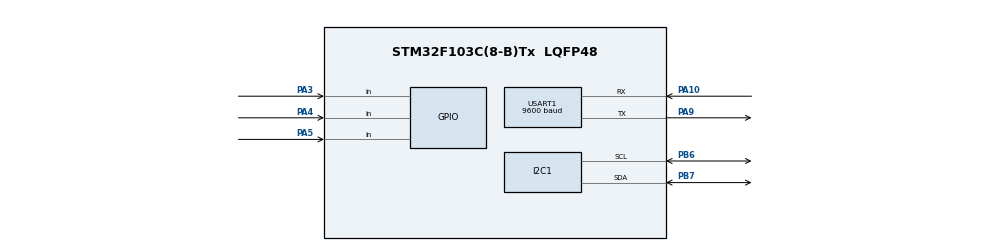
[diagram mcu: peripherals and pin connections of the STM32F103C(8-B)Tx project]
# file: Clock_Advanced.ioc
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Mcu.Family=STM32F1
Mcu.Name=STM32F103C(8-B)Tx
Mcu.Package=LQFP48
NVIC.PriorityGroup=NVIC_PRIORITYGROUP_3
NVIC.TIM2_IRQn=true\:0\:0\:false\:false\:true\:true\:true\:true
PA10.Mode=Asynchronous
PA10.Signal=USART1_RX
PA13.Mode=Serial_Wire
PA13.Signal=SYS_JTMS-SWDIO
PA14.Mode=Serial_Wire
PA14.Signal=SYS_JTCK-SWCLK
PA3.GPIO_PuPd=GPIO_PULLUP
PA3.Signal=GPIO_Input
PA4.GPIO_PuPd=GPIO_PULLUP
PA4.Signal=GPIO_Input
PA5.GPIO_PuPd=GPIO_PULLUP
PA5.Signal=GPIO_Input
PA9.Mode=Asynchronous
PA9.Signal=USART1_TX
PB6.Mode=I2C
PB6.Signal=I2C1_SCL
PB7.Mode=I2C
PB7.Signal=I2C1_SDA
PD0-OSC_IN.Mode=HSE-External-Oscillator
PD0-OSC_IN.Signal=RCC_OSC_IN
PD1-OSC_OUT.Mode=HSE-External-Oscillator
PD1-OSC_OUT.Signal=RCC_OSC_OUT
ProjectManager.HeapSize=0x200
ProjectManager.StackSize=0x400
ProjectManager.TargetToolchain=MDK-ARM V4
RCC.APB1Freq_Value=8000000
RCC.APB2Freq_Value=8000000
TIM1.Prescaler=7999
TIM2.AutoReloadPreload=TIM_AUTORELOAD_PRELOAD_ENABLE
TIM2.Period=999
TIM2.Prescaler=7999
USART1.BaudRate=9600
USART1.VirtualMode=VM_ASYNC
VP_TIM1_VS_ClockSourceINT.Mode=Internal
VP_TIM2_VS_ClockSourceINT.Mode=Internal
board=custom

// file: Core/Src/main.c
/* USER CODE BEGIN Header */
/**
  ******************************************************************************
  * @file           : main.c
  * @brief          : Main program body
  ******************************************************************************
  * @attention
  *
  * Copyright (c) 2024 STMicroelectronics.
  * All rights reserved.
  *
  * This software is licensed under terms that can be found in the LICENSE file
  * in the root directory of this software component.
  * If no LICENSE file comes with this software, it is provided AS-IS.
  *
  ******************************************************************************
  */
/* USER CODE END Header */
#include "main.h"

/* USER CODE BEGIN Includes */
#include "RTC.h"
#include "LiquidCrystal_I2C.h"
#include "Button.h"
#include "DFPLAYER.h"
/* USER CODE END Includes */

I2C_HandleTypeDef hi2c1;

TIM_HandleTypeDef htim1;
TIM_HandleTypeDef htim2;

UART_HandleTypeDef huart1;

void SystemClock_Config(void);
static void MX_GPIO_Init(void);
static void MX_TIM2_Init(void);
static void MX_I2C1_Init(void);
static void MX_USART1_UART_Init(void);
static void MX_TIM1_Init(void);
/* USER CODE BEGIN PFP */
RTC_Typedef hrtc1;
LiquidCrystal_I2C hlcd;
Button_Typdef start_stop_button;
Button_Typdef mode_button;
Button_Typdef light_button;
DFPLAYER_Name mp3;
/* USER CODE END PFP */

/* USER CODE BEGIN 0 */

//--------define cac macro su dung o TRANG THAI IDLE----------------
typedef enum
{
	idle_state,
	choose_mode_state,
	adjust_time_state,
	set_alarm_state,
	sport_timer_state,
	choose_ringtone_state,
	adjust_volume_state,
}mode_state;
mode_state clock_state= idle_state;

typedef enum
{
	backlight_on,
	backlight_off,
}back_light_state;
back_light_state backlight_state=backlight_off;

//--------define cac macro su dung o TRANG THAI SET TIME------------
typedef enum
{
	choose_normal_display_mode,
	choose_adjust_time_mode,
	choose_set_alarm_mode,
	choose_sport_timer_mode,
	choose_choose_ringtone_mode,
	choose_adjust_volume_mode,
}choose_mode_t;
choose_mode_t choose_mode=choose_normal_display_mode;

//--------define cac macro su dung o TRANG THAI CHOOSE MODE------------
typedef enum
{
	date_adjusting,
	month_adjusting,
	year_adjusting,
	hour_adjusting,
	min_adjusting,
	second_adjusting,
}adjusting_list;
adjusting_list adjusting_state;

//--------define cac macro su dung o TRANG THAI SET ALARM-----------
typedef enum
{
	hour_setAlarm,
	min_setAlarm,
	second_setAlarm,
}alarm;
alarm alarm_state;

typedef enum
{
	alarm_on,
	alarm_off,
}alarm_on_off;
alarm_on_off alarm_on_or_off;

typedef struct
{
	uint8_t hour;
	uint8_t min;
	uint8_t second;
}alarm_time;
alarm_time alarmTime;
uint8_t alarming_flag;
//--------define cac macro su dung o TRANG THAI SPORT TIMER---------
typedef enum
{
	timer_pause,
	timer_run,
}timerState;
timerState timer_state;

typedef struct
{
	uint8_t min;
	uint8_t second;
	uint8_t tick;
}timerTime;
timerTime timer_time;
//--------define cac macro su dung o TRANG THAI CHOOSE RINGTONE---------
typedef enum
{
	song1=1,
	song2=2,
	song3=3,
}song_list_t;
song_list_t song_list;
int volume=15;
//-------------------------------------------------------------------------

void btn_press_short_callback(Button_Typdef *ButtonX ) // ngat duoc goi moi khi co 1 nut duoc nhan nha nhanh
{
	if (ButtonX == &mode_button) // neu nut duoc nhan la nut mode
	{
		HAL_Delay(10);
		lcd_clear_display(&hlcd);
		if (clock_state == idle_state)
		{
			clock_state=choose_mode_state;
			choose_mode= choose_normal_display_mode;
		}
		else if (clock_state == choose_mode_state)
		{
			switch(choose_mode)
			{
				case choose_normal_display_mode:
					clock_state= idle_state;
					break;
				case choose_adjust_time_mode:
					clock_state= adjust_time_state;
					adjusting_state= date_adjusting;
					break;
				case choose_set_alarm_mode:
					clock_state= set_alarm_state;
					alarm_state= second_setAlarm;
					alarmTime.hour=0;
					alarmTime.min=0;
					alarmTime.second=0;
					break;
				case choose_sport_timer_mode:
					clock_state= sport_timer_state;
					timer_state=timer_pause;
					break;
				case choose_choose_ringtone_mode:
					clock_state= choose_ringtone_state;
					song_list=song1;
					break;
				case choose_adjust_volume_mode:
					clock_state= adjust_volume_state;
					break;
				default:
					break;
			}
		}

		else if (clock_state == set_alarm_state)
		{
			alarm_on_or_off=alarm_on;
			clock_state=idle_state;
		}
		else if (clock_state == adjust_volume_state)
		{
			DFPLAYER_Stop(&mp3);
			clock_state=idle_state;
		}
		else
		{
			clock_state=idle_state;
		}
	}
	if (ButtonX == &start_stop_button) // neu nut duoc nhan la nut start_stop
	{
		HAL_Delay(10);
		lcd_clear_display(&hlcd);
		if (clock_state== choose_mode_state)
		{
			switch(choose_mode)
			{
				case choose_normal_display_mode:
					choose_mode= choose_adjust_time_mode;
					break;
				case choose_adjust_time_mode:
					choose_mode= choose_set_alarm_mode;
					break;
				case choose_set_alarm_mode:
					choose_mode= choose_sport_timer_mode;
					break;
				case choose_sport_timer_mode:
					choose_mode= choose_choose_ringtone_mode;
					break;
				case choose_choose_ringtone_mode:
					choose_mode= choose_adjust_volume_mode;
					break;
				case choose_adjust_volume_mode:
					choose_mode= choose_normal_display_mode;
					break;
				default:
					break;
			}
		}
		if(clock_state == adjust_time_state)
		{
			switch(adjusting_state)
			{
				case date_adjusting:
					RTC_ReadTime(&hrtc1,&hrtc1.date_time);
					if (hrtc1.date_time.date==31) { hrtc1.date_time.date = 1;}
					else {hrtc1.date_time.date=(hrtc1.date_time.date)%31+1;}
					RTC_WriteTime(&hrtc1,&hrtc1.date_time);
					break;

				case month_adjusting:
					RTC_ReadTime(&hrtc1,&hrtc1.date_time);
					if (hrtc1.date_time.month==12) { hrtc1.date_time.month = 1;}
					else {hrtc1.date_time.month=(hrtc1.date_time.month)%12+1;}
					RTC_WriteTime(&hrtc1,&hrtc1.date_time);
					break;

				case year_adjusting:
					RTC_ReadTime(&hrtc1,&hrtc1.date_time);
					if (hrtc1.date_time.year==99) { hrtc1.date_time.year = 0;}
					else {hrtc1.date_time.year=(hrtc1.date_time.year++)%100;}
					RTC_WriteTime(&hrtc1,&hrtc1.date_time);
					break;

				case hour_adjusting:
					RTC_ReadTime(&hrtc1,&hrtc1.date_time);
					if (hrtc1.date_time.hour==23) { hrtc1.date_time.hour = 0;}
					else {hrtc1.date_time.hour=(hrtc1.date_time.hour++)%24;}
					RTC_WriteTime(&hrtc1,&hrtc1.date_time);
					break;

				case min_adjusting:
					RTC_ReadTime(&hrtc1,&hrtc1.date_time);
					if (hrtc1.date_time.min==59) { hrtc1.date_time.min = 0;}
					else {hrtc1.date_time.min=(hrtc1.date_time.min++)%60;}
					RTC_WriteTime(&hrtc1,&hrtc1.date_time);
					break;

				case second_adjusting:
					RTC_ReadTime(&hrtc1,&hrtc1.date_time);
					if (hrtc1.date_time.second==59) { hrtc1.date_time.second = 0;}
					else {hrtc1.date_time.second=(hrtc1.date_time.second++)%60;}
					RTC_WriteTime(&hrtc1,&hrtc1.date_time);
					break;

				default:
					break;
			}
		}
		if(clock_state==set_alarm_state)
		{
			switch(alarm_state)
			{
				case second_setAlarm:
					alarmTime.second= ((alarmTime.second)+1)%60;
					break;
				case min_setAlarm:
					alarmTime.min= ((alarmTime.min)+1)%60;
					break;
				case hour_setAlarm:
					alarmTime.hour= ((alarmTime.hour)+1)%24;
				break;

				default:
					break;
			}
		}
		if (clock_state== sport_timer_state)
		{
			switch(timer_state)
			{
				case timer_pause:
					timer_state= timer_run;
					break;
				case timer_run:
					timer_state= timer_pause;
					break;
				default:
					break;
			}
		}
		if (clock_state == choose_ringtone_state)
		{
			switch(song_list)
			{
				case song1:
					song_list=song3;
					break;
				case song3:
					song_list=song2;
					break;
				case song2:
					song_list=song1;
					break;
				default:
					break;
			}
		}
		if (clock_state == adjust_volume_state)
		{
			if (volume<30)
			{
				volume+=3;
			}
			DFPLAYER_SetVolume(&mp3,volume);
			DFPLAYER_PlayTrack(&mp3, 2);
		}
	}
	if (ButtonX== &light_button) // neu nut duoc nhan la nut light
	{
		HAL_Delay(10);
		lcd_clear_display(&hlcd);
		if (alarming_flag==1)
		{
			DFPLAYER_Stop(&mp3);
			alarm_on_or_off= alarm_off;
			alarming_flag=0;
		}
		if (clock_state == idle_state)
		{
			switch (backlight_state)
			{
				case backlight_off:
					lcd_backlight_on(&hlcd);
					backlight_state= backlight_on;
					break;
				case backlight_on:
					lcd_backlight_off(&hlcd);
					backlight_state= backlight_off;
					break;
				default:
					break;
			}
		}

		if (clock_state== choose_mode_state)
		{
			switch(choose_mode)
			{
				case choose_normal_display_mode:
					choose_mode= choose_adjust_volume_mode;
					break;
				case choose_adjust_time_mode:
					choose_mode= choose_normal_display_mode;
					break;
				case choose_set_alarm_mode:
					choose_mode= choose_adjust_time_mode;
					break;
				case choose_sport_timer_mode:
					choose_mode= choose_set_alarm_mode;
					break;
				case choose_choose_ringtone_mode:
					choose_mode= choose_sport_timer_mode;
					break;
				case choose_adjust_volume_mode:
					choose_mode= choose_choose_ringtone_mode;
					break;
				default:
					break;
			}
		}

		if (clock_state == adjust_time_state)
		{
			switch(adjusting_state)
			{
				case date_adjusting:
					adjusting_state = month_adjusting;
				break;

				case month_adjusting:
					adjusting_state= year_adjusting;
				break;

				case year_adjusting:
					adjusting_state= hour_adjusting;
				break;

				case hour_adjusting:
					adjusting_state= min_adjusting;
				break;

				case min_adjusting:
					adjusting_state= second_adjusting;
				break;

				case second_adjusting:
					adjusting_state= date_adjusting;

				default:
					break;

			}
		}
		if (clock_state== set_alarm_state)
		{
			switch(alarm_state)
			{
				case second_setAlarm:
					alarm_state= min_setAlarm;
					break;
				case min_setAlarm:
					alarm_state= hour_setAlarm;
					break;
				case hour_setAlarm:
					alarm_state= second_setAlarm;
					break;
				default:
					break;
			}
		}
		if (clock_state== sport_timer_state)
		{
			timer_time.min=0;
			timer_time.second=0;
			timer_time.tick=0;
		}
		if (clock_state == choose_ringtone_state)
		{
			switch(song_list)
			{
				case song1:
					song_list=song2;
					break;
				case song2:
					song_list=song3;
					break;
				case song3:
					song_list=song1;
					break;
				default:
					break;
			}
		}
		if (clock_state == adjust_volume_state)
		{
			if(volume>0)
			{
				volume-=3;
			}
			DFPLAYER_SetVolume(&mp3,volume);
			DFPLAYER_PlayTrack(&mp3, 2);
		}
	}
}

void btn_press_timeout1s_callback(Button_Typdef *ButtonX) // ngat duoc goi moi khi co 1 nut duoc nhan giu trong 1s
{

}
void btn_press_timeout2s_callback(Button_Typdef *ButtonX) // ngat duoc goi moi khi co 1 nut duoc nhan giu trong 2s
{

}
void btn_press_timeout3s_callback(Button_Typdef *ButtonX) // ngat duoc goi moi khi co 1 nut duoc nhan giu trong 3s
{

}

void btn_press_timeout4s_callback(Button_Typdef *ButtonX) // ngat duoc goi moi khi co 1 nut duoc nhan giu trong 4s
{

}
void display_handle() // ham hien thi len LCD
{
	if (clock_state== idle_state)
	{
					RTC_ReadTime(&hrtc1,&hrtc1.date_time);
					lcd_set_cursor(&hlcd, 1,4);
					lcd_printf(&hlcd, "%02d:%02d:%02d",hrtc1.date_time.hour,
									hrtc1.date_time.min, hrtc1.date_time.second);
					lcd_set_cursor(&hlcd, 0,4);
					lcd_printf(&hlcd, "%02d-%02d-%02d",hrtc1.date_time.date,
									hrtc1.date_time.month,hrtc1.date_time.year);
	}

	if (clock_state== choose_mode_state)
	{
		switch(choose_mode)
			{
				case choose_normal_display_mode:
					lcd_set_cursor(&hlcd,0,2);
					lcd_printf(&hlcd,"-Enter Mode-");
					lcd_set_cursor(&hlcd,1,2);
					lcd_printf(&hlcd,"Time Display");
					break;
				case choose_adjust_time_mode:
					lcd_set_cursor(&hlcd,0,2);
					lcd_printf(&hlcd,"-Enter Mode-");
					lcd_set_cursor(&hlcd,1,2);
					lcd_printf(&hlcd,"Time Adjust");
					break;
				case choose_set_alarm_mode:
					lcd_set_cursor(&hlcd,0,2);
					lcd_printf(&hlcd,"-Enter Mode-");
					lcd_set_cursor(&hlcd,1,3);
					lcd_printf(&hlcd,"Set Alarm");
					break;
				case choose_sport_timer_mode:
					lcd_set_cursor(&hlcd,0,2);
					lcd_printf(&hlcd,"-Enter Mode-");
					lcd_set_cursor(&hlcd,1,3);
					lcd_printf(&hlcd,"Sport Timer");
					break;
				case choose_choose_ringtone_mode:
					lcd_set_cursor(&hlcd,0,2);
					lcd_printf(&hlcd,"-Enter Mode-");
					lcd_set_cursor(&hlcd,1,1);
					lcd_printf(&hlcd,"Choose Ringtone");
					break;
				case choose_adjust_volume_mode:
					lcd_set_cursor(&hlcd,0,2);
					lcd_printf(&hlcd,"-Enter Mode-");
					lcd_set_cursor(&hlcd,1,2);
					lcd_printf(&hlcd,"Volume Adjust");
					break;
				default:
					break;
			}

	}

	if (clock_state== adjust_time_state)
	{
		switch(adjusting_state)
		{
			case date_adjusting:
					RTC_ReadTime(&hrtc1,&hrtc1.date_time);
					lcd_set_cursor(&hlcd, 1,4);
					lcd_printf(&hlcd, "%02d:%02d:%02d",hrtc1.date_time.hour,
											hrtc1.date_time.min, hrtc1.date_time.second);
					lcd_set_cursor(&hlcd, 0,4);
					lcd_printf(&hlcd, "%02d-%02d-%02d",hrtc1.date_time.date,
									hrtc1.date_time.month,hrtc1.date_time.year);
					for( uint16_t i=0;i<10000;i++) {}
						RTC_ReadTime(&hrtc1,&hrtc1.date_time);
					lcd_set_cursor(&hlcd, 1,4);
					lcd_printf(&hlcd, "%02d:%02d:%02d",hrtc1.date_time.hour,
											hrtc1.date_time.min, hrtc1.date_time.second);
					lcd_set_cursor(&hlcd, 0,4);
					lcd_printf(&hlcd, "%s-%02d-%02d","  ",
									hrtc1.date_time.month,hrtc1.date_time.year);
					for( uint16_t i=0;i<10000;i++) {}
				break;

			case month_adjusting:
					RTC_ReadTime(&hrtc1,&hrtc1.date_time);
					lcd_set_cursor(&hlcd, 1,4);
					lcd_printf(&hlcd, "%02d:%02d:%02d",hrtc1.date_time.hour,
									hrtc1.date_time.min, hrtc1.date_time.second);
					lcd_set_cursor(&hlcd, 0,4);
					lcd_printf(&hlcd, "%02d-%02d-%02d",hrtc1.date_time.date,
							hrtc1.date_time.month,hrtc1.date_time.year);
					for( uint16_t i=0;i<10000;i++) {}
					RTC_ReadTime(&hrtc1,&hrtc1.date_time);
					lcd_set_cursor(&hlcd, 1,4);
					lcd_printf(&hlcd, "%02d:%02d:%02d",hrtc1.date_time.hour,
									hrtc1.date_time.min, hrtc1.date_time.second);
					lcd_set_cursor(&hlcd, 0,4);
					lcd_printf(&hlcd, "%02d-%s-%02d",hrtc1.date_time.date,
							"  ",hrtc1.date_time.year);
					for( uint16_t i=0;i<10000;i++) {}
				break;

			case year_adjusting:
					RTC_ReadTime(&hrtc1,&hrtc1.date_time);
					lcd_set_cursor(&hlcd, 1,4);
					lcd_printf(&hlcd, "%02d:%02d:%02d",hrtc1.date_time.hour,
									hrtc1.date_time.min, hrtc1.date_time.second);
					lcd_set_cursor(&hlcd, 0,4);
					lcd_printf(&hlcd, "%02d-%02d-%02d",hrtc1.date_time.date,
							hrtc1.date_time.month,hrtc1.date_time.year);
					for( uint16_t i=0;i<10000;i++) {}
					RTC_ReadTime(&hrtc1,&hrtc1.date_time);
					lcd_set_cursor(&hlcd, 1,4);
					lcd_printf(&hlcd, "%02d:%02d:%02d",hrtc1.date_time.hour,
									hrtc1.date_time.min, hrtc1.date_time.second);
					lcd_set_cursor(&hlcd, 0,4);
					lcd_printf(&hlcd, "%02d-%02d-%s",hrtc1.date_time.date,
							hrtc1.date_time.month,"  ");
					for( uint16_t i=0;i<10000;i++) {}
				break;

			case hour_adjusting:
					RTC_ReadTime(&hrtc1,&hrtc1.date_time);
					lcd_set_cursor(&hlcd, 1,4);
					lcd_printf(&hlcd, "%02d:%02d:%02d",hrtc1.date_time.hour,
									hrtc1.date_time.min, hrtc1.date_time.second);
					lcd_set_cursor(&hlcd, 0,4);
					lcd_printf(&hlcd, "%02d-%02d-%02d",hrtc1.date_time.date,
							hrtc1.date_time.month,hrtc1.date_time.year);
					for( uint16_t i=0;i<10000;i++) {}
					RTC_ReadTime(&hrtc1,&hrtc1.date_time);
					lcd_set_cursor(&hlcd, 1,4);
					lcd_printf(&hlcd, "%s:%02d:%02d","  ",
									hrtc1.date_time.min, hrtc1.date_time.second);
					lcd_set_cursor(&hlcd, 0,4);
					lcd_printf(&hlcd, "%02d-%02d-%02d",hrtc1.date_time.date,
							hrtc1.date_time.month,hrtc1.date_time.year);
					for( uint16_t i=0;i<10000;i++) {}
				break;

			case min_adjusting:
					RTC_ReadTime(&hrtc1,&hrtc1.date_time);
					lcd_set_cursor(&hlcd, 1,4);
					lcd_printf(&hlcd, "%02d:%02d:%02d",hrtc1.date_time.hour,
									hrtc1.date_time.min, hrtc1.date_time.second);
					lcd_set_cursor(&hlcd, 0,4);
					lcd_printf(&hlcd, "%02d-%02d-%02d",hrtc1.date_time.date,
							hrtc1.date_time.month,hrtc1.date_time.year);
					for( uint16_t i=0;i<10000;i++) {}
					RTC_ReadTime(&hrtc1,&hrtc1.date_time);
					lcd_set_cursor(&hlcd, 1,4);
					lcd_printf(&hlcd, "%02d:%s:%02d",hrtc1.date_time.hour,
									"  ", hrtc1.date_time.second);
					lcd_set_cursor(&hlcd, 0,4);
					lcd_printf(&hlcd, "%02d-%02d-%02d",hrtc1.date_time.date,
							hrtc1.date_time.month,hrtc1.date_time.year);
					for( uint16_t i=0;i<10000;i++) {}
				break;

			case second_adjusting:
					RTC_ReadTime(&hrtc1,&hrtc1.date_time);
					lcd_set_cursor(&hlcd, 1,4);
					lcd_printf(&hlcd, "%02d:%02d:%02d",hrtc1.date_time.hour,
									hrtc1.date_time.min, hrtc1.date_time.second);
					lcd_set_cursor(&hlcd, 0,4);
					lcd_printf(&hlcd, "%02d-%02d-%02d",hrtc1.date_time.date,
							hrtc1.date_time.month,hrtc1.date_time.year);
					for( uint16_t i=0;i<10000;i++) {}
					RTC_ReadTime(&hrtc1,&hrtc1.date_time);
					lcd_set_cursor(&hlcd, 1,4);
					lcd_printf(&hlcd, "%02d:%02d:%s",hrtc1.date_time.hour,
									hrtc1.date_time.min, "  ");
					lcd_set_cursor(&hlcd, 0,4);
					lcd_printf(&hlcd, "%02d-%02d-%02d",hrtc1.date_time.date,
							hrtc1.date_time.month,hrtc1.date_time.year);
					for( uint16_t i=0;i<10000;i++) {}
				break;

			default:
				break;
		}
	}

	if (clock_state == set_alarm_state)
	{
		if(alarm_state == second_setAlarm)
		{
			lcd_set_cursor(&hlcd,0,4);
			lcd_printf(&hlcd,"SETALARM");
			lcd_set_cursor(&hlcd,1,4);
			lcd_printf(&hlcd, "%02d:%02d:%02d",alarmTime.hour,alarmTime.min,alarmTime.second);
			for( uint16_t i=0;i<10000;i++) {}
			lcd_set_cursor(&hlcd,0,4);
			lcd_printf(&hlcd,"SETALARM");
			lcd_set_cursor(&hlcd,1,4);
			lcd_printf(&hlcd, "%02d:%02d:%s",alarmTime.hour,alarmTime.min,"  ");
			for( uint16_t i=0;i<10000;i++) {}
		}
		if(alarm_state == min_setAlarm)
		{
			lcd_set_cursor(&hlcd,0,4);
			lcd_printf(&hlcd,"SETALARM");
			lcd_set_cursor(&hlcd,1,4);
			lcd_printf(&hlcd, "%02d:%02d:%02d",alarmTime.hour,alarmTime.min,alarmTime.second);
			for( uint16_t i=0;i<10000;i++) {}
			lcd_set_cursor(&hlcd,0,4);
			lcd_printf(&hlcd,"SETALARM");
			lcd_set_cursor(&hlcd,1,4);
			lcd_printf(&hlcd, "%02d:%s:%02d",alarmTime.hour,"  ",alarmTime.second);
			for( uint16_t i=0;i<10000;i++) {}
		}
		if(alarm_state == hour_setAlarm)
		{
			lcd_set_cursor(&hlcd,0,4);
			lcd_printf(&hlcd,"SETALARM");
			lcd_set_cursor(&hlcd,1,4);
			lcd_printf(&hlcd, "%02d:%02d:%02d",alarmTime.hour,alarmTime.min,alarmTime.second);
			for( uint16_t i=0;i<10000;i++) {}
			lcd_set_cursor(&hlcd,0,4);
			lcd_printf(&hlcd,"SETALARM");
			lcd_set_cursor(&hlcd,1,4);
			lcd_printf(&hlcd, "%s:%02d:%02d","  ",alarmTime.min,alarmTime.second);
			for( uint16_t i=0;i<10000;i++) {}
		}
	}
	if (clock_state== sport_timer_state)
	{
		lcd_set_cursor(&hlcd,0,4);
		lcd_printf(&hlcd," TIMER  ");
		lcd_set_cursor(&hlcd,1,4);
		lcd_printf(&hlcd, "%02d:%02d:%02d",timer_time.min,timer_time.second,timer_time.tick);
	}
	if (clock_state == choose_ringtone_state)
	{
		switch(song_list)
		{
			case song1:
				lcd_set_cursor(&hlcd,0,0);
				lcd_printf(&hlcd,"CHOOSE SONG 1:");
				lcd_set_cursor(&hlcd,1,0);
				lcd_printf(&hlcd, "BAC PHAN");
				break;
			case song2:
				lcd_set_cursor(&hlcd,0,0);
				lcd_printf(&hlcd,"CHOOSE SONG 2:");
				lcd_set_cursor(&hlcd,1,0);
				lcd_printf(&hlcd, "HONG NHAN");
				break;
			case song3:
				lcd_set_cursor(&hlcd,0,0);
				lcd_printf(&hlcd,"CHOOSE SONG 3:");
				lcd_set_cursor(&hlcd,1,0);
				lcd_printf(&hlcd, "SONG GIO");
				break;
			default:
				break;
		}
	}
	if (clock_state== adjust_volume_state)
	{
		lcd_set_cursor(&hlcd,0,2);
		lcd_printf(&hlcd,"SET VOLUME:");
		lcd_set_cursor(&hlcd,1,2);
		lcd_printf(&hlcd,"Volume: %d",volume*10/3);
	}
}

void check_alarm(alarm_time* time) // ham check xem gio hien tai da den gio bao thuc chua
{

	RTC_ReadTime(&hrtc1,&hrtc1.date_time);
	if (hrtc1.date_time.hour == time->hour && hrtc1.date_time.min == time->min && hrtc1.date_time.second == time->second)
	{
		alarming_flag=1;
		DFPLAYER_PlayTrack(&mp3,song_list);
		HAL_TIM_Base_Start(&htim1);
		alarm_on_or_off = alarm_off;
	}
}

void HAL_TIM_PeriodElapsedCallback(TIM_HandleTypeDef *htim)
{
	timer_time.second++;
	if (timer_time.second==60)
	{
		timer_time.second=0;
		(timer_time.min)++;
	}
}

void timer_handle(timerTime* time ) // quan li dong ho bam gio
{
	if (timer_state== timer_pause)
	{
		HAL_TIM_Base_Stop_IT(&htim2);
	}
	if (timer_state== timer_run)
	{

		time->tick= (TIM2->CNT)/10;
		HAL_TIM_Base_Start_IT(&htim2);
	}
}
uint32_t temp1=0;
uint32_t temp2=0;
/* USER CODE END 0 */

int main(void)
{

  /* MCU Configuration--------------------------------------------------------*/

  /* Reset of all peripherals, Initializes the Flash interface and the Systick. */
  HAL_Init();

  /* Configure the system clock */
  SystemClock_Config();

  /* Initialize all configured peripherals */
  MX_GPIO_Init();
  MX_TIM2_Init();
  MX_I2C1_Init();
  MX_USART1_UART_Init();
  MX_TIM1_Init();
  /* USER CODE BEGIN 2 */
	RTC_Init(&hrtc1, &hi2c1);                  // Khởi tạo module RTC DS3231
    lcd_init(&hlcd, &hi2c1, LCD_ADDR_DEFAULT); // Khởi tạo LCD với địa chỉ mặc định
    button_init(&start_stop_button, GPIOA, GPIO_PIN_3); // Khởi tạo nút Start/Stop
    button_init(&mode_button, GPIOA, GPIO_PIN_4);       // Khởi tạo nút Mode
    button_init(&light_button, GPIOA, GPIO_PIN_5);      // Khởi tạo nút Light
    DFPLAYER_Init(&mp3, &huart1);                       // Khởi tạo module MP3 DFPlayer
    DFPLAYER_SetVolume(&mp3, 20);                       // Đặt âm lượng mặc định

  /* USER CODE END 2 */

  /* Infinite loop */
  while (1)
  {

    /* USER CODE BEGIN 3 */
		button_handle(&start_stop_button);
		button_handle(&mode_button);
		button_handle(&light_button);

		//DFPLAYER_Stop(&mp3);
		if (clock_state==sport_timer_state)
		{
			timer_handle(&timer_time);
		}
		display_handle();
		if (alarm_on_or_off == alarm_on)
		{
			check_alarm(&alarmTime);
		}
		if (alarming_flag==1)
		{
			if (HAL_GetTick() - temp1 >=40000)
			{
				DFPLAYER_PlayTrack(&mp3,song_list);
				temp1=HAL_GetTick();
			}
			if (HAL_GetTick() - temp2 >=500)
			{
				switch(backlight_state)
				{
					case backlight_on:
						lcd_backlight_off(&hlcd);
						backlight_state= backlight_off;
						break;
					case backlight_off:
						lcd_backlight_on(&hlcd);
						backlight_state= backlight_on;
						break;
					default:
						break;
				}
				temp2=HAL_GetTick();
			}
		}
  }
  /* USER CODE END 3 */
}

void SystemClock_Config(void)
{
  RCC_OscInitTypeDef RCC_OscInitStruct = {0};
  RCC_ClkInitTypeDef RCC_ClkInitStruct = {0};

  /** Initializes the RCC Oscillators according to the specified parameters
  * in the RCC_OscInitTypeDef structure.
  */
  RCC_OscInitStruct.OscillatorType = RCC_OSCILLATORTYPE_HSI;
  RCC_OscInitStruct.HSIState = RCC_HSI_ON;
  RCC_OscInitStruct.HSICalibrationValue = RCC_HSICALIBRATION_DEFAULT;
  RCC_OscInitStruct.PLL.PLLState = RCC_PLL_NONE;
  if (HAL_RCC_OscConfig(&RCC_OscInitStruct) != HAL_OK)
  {
    Error_Handler();
  }

  /** Initializes the CPU, AHB and APB buses clocks
  */
  RCC_ClkInitStruct.ClockType = RCC_CLOCKTYPE_HCLK|RCC_CLOCKTYPE_SYSCLK
                              |RCC_CLOCKTYPE_PCLK1|RCC_CLOCKTYPE_PCLK2;
  RCC_ClkInitStruct.SYSCLKSource = RCC_SYSCLKSOURCE_HSI;
  RCC_ClkInitStruct.AHBCLKDivider = RCC_SYSCLK_DIV1;
  RCC_ClkInitStruct.APB1CLKDivider = RCC_HCLK_DIV1;
  RCC_ClkInitStruct.APB2CLKDivider = RCC_HCLK_DIV1;

  if (HAL_RCC_ClockConfig(&RCC_ClkInitStruct, FLASH_LATENCY_0) != HAL_OK)
  {
    Error_Handler();
  }
}

static void MX_I2C1_Init(void)
{

  hi2c1.Instance = I2C1;
  hi2c1.Init.ClockSpeed = 100000;
  hi2c1.Init.DutyCycle = I2C_DUTYCYCLE_2;
  hi2c1.Init.OwnAddress1 = 0;
  hi2c1.Init.AddressingMode = I2C_ADDRESSINGMODE_7BIT;
  hi2c1.Init.DualAddressMode = I2C_DUALADDRESS_DISABLE;
  hi2c1.Init.OwnAddress2 = 0;
  hi2c1.Init.GeneralCallMode = I2C_GENERALCALL_DISABLE;
  hi2c1.Init.NoStretchMode = I2C_NOSTRETCH_DISABLE;
  if (HAL_I2C_Init(&hi2c1) != HAL_OK)
  {
    Error_Handler();
  }

}

static void MX_TIM1_Init(void)
{

  TIM_ClockConfigTypeDef sClockSourceConfig = {0};
  TIM_MasterConfigTypeDef sMasterConfig = {0};

  htim1.Instance = TIM1;
  htim1.Init.Prescaler = 7999;
  htim1.Init.CounterMode = TIM_COUNTERMODE_UP;
  htim1.Init.Period = 65535;
  htim1.Init.ClockDivision = TIM_CLOCKDIVISION_DIV1;
  htim1.Init.RepetitionCounter = 0;
  htim1.Init.AutoReloadPreload = TIM_AUTORELOAD_PRELOAD_DISABLE;
  if (HAL_TIM_Base_Init(&htim1) != HAL_OK)
  {
    Error_Handler();
  }
  sClockSourceConfig.ClockSource = TIM_CLOCKSOURCE_INTERNAL;
  if (HAL_TIM_ConfigClockSource(&htim1, &sClockSourceConfig) != HAL_OK)
  {
    Error_Handler();
  }
  sMasterConfig.MasterOutputTrigger = TIM_TRGO_RESET;
  sMasterConfig.MasterSlaveMode = TIM_MASTERSLAVEMODE_DISABLE;
  if (HAL_TIMEx_MasterConfigSynchronization(&htim1, &sMasterConfig) != HAL_OK)
  {
    Error_Handler();
  }

}

static void MX_TIM2_Init(void)
{

  TIM_ClockConfigTypeDef sClockSourceConfig = {0};
  TIM_MasterConfigTypeDef sMasterConfig = {0};

  htim2.Instance = TIM2;
  htim2.Init.Prescaler = 7999;
  htim2.Init.CounterMode = TIM_COUNTERMODE_UP;
  htim2.Init.Period = 999;
  htim2.Init.ClockDivision = TIM_CLOCKDIVISION_DIV1;
  htim2.Init.AutoReloadPreload = TIM_AUTORELOAD_PRELOAD_ENABLE;
  if (HAL_TIM_Base_Init(&htim2) != HAL_OK)
  {
    Error_Handler();
  }
  sClockSourceConfig.ClockSource = TIM_CLOCKSOURCE_INTERNAL;
  if (HAL_TIM_ConfigClockSource(&htim2, &sClockSourceConfig) != HAL_OK)
  {
    Error_Handler();
  }
  sMasterConfig.MasterOutputTrigger = TIM_TRGO_RESET;
  sMasterConfig.MasterSlaveMode = TIM_MASTERSLAVEMODE_DISABLE;
  if (HAL_TIMEx_MasterConfigSynchronization(&htim2, &sMasterConfig) != HAL_OK)
  {
    Error_Handler();
  }

}

static void MX_USART1_UART_Init(void)
{

  huart1.Instance = USART1;
  huart1.Init.BaudRate = 9600;
  huart1.Init.WordLength = UART_WORDLENGTH_8B;
  huart1.Init.StopBits = UART_STOPBITS_1;
  huart1.Init.Parity = UART_PARITY_NONE;
  huart1.Init.Mode = UART_MODE_TX_RX;
  huart1.Init.HwFlowCtl = UART_HWCONTROL_NONE;
  huart1.Init.OverSampling = UART_OVERSAMPLING_16;
  if (HAL_UART_Init(&huart1) != HAL_OK)
  {
    Error_Handler();
  }

}

static void MX_GPIO_Init(void)
{
  GPIO_InitTypeDef GPIO_InitStruct = {0};

  /* GPIO Ports Clock Enable */
  __HAL_RCC_GPIOD_CLK_ENABLE();
  __HAL_RCC_GPIOA_CLK_ENABLE();
  __HAL_RCC_GPIOB_CLK_ENABLE();

  /*Configure GPIO pins : PA3 PA4 PA5 */
  GPIO_InitStruct.Pin = GPIO_PIN_3|GPIO_PIN_4|GPIO_PIN_5;
  GPIO_InitStruct.Mode = GPIO_MODE_INPUT;
  GPIO_InitStruct.Pull = GPIO_PULLUP;
  HAL_GPIO_Init(GPIOA, &GPIO_InitStruct);

}

void Error_Handler(void)
{
  __disable_irq();
  while (1)
  {
  }
}
